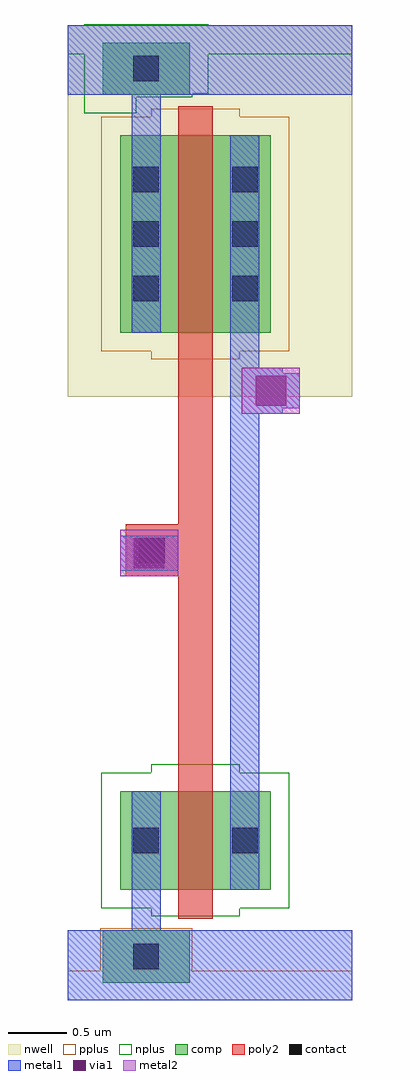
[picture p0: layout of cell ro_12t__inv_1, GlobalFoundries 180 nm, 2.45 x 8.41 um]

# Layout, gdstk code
import gdstk
lib = gdstk.Library(unit=1e-6, precision=1e-09)
def R(c, l, rs):  # rectangles x0, y0, x1, y1
    for r in rs: c.add(gdstk.rectangle(r[:2], r[2:], *l))
def A(c, l, x, y, w, h, nx, ny, dx, dy):  # array of equal rectangles
    R(c, l, [(x+i*dx, y+j*dy, x+i*dx+w, y+j*dy+h) for i in range(nx) for j in range(ny)])
nwell = (21, 0)
comp = (22, 0)
poly2 = (30, 0)
pplus = (31, 0)
nplus = (32, 0)
contact = (33, 0)
metal1 = (34, 0)
via1 = (35, 0)
metal2 = (36, 0)

ro_12t__inv_1 = lib.new_cell('ro_12t__inv_1')
R(ro_12t__inv_1, nwell, [(0,5.2,2.45,8.4)])
R(ro_12t__inv_1, comp, [(0.3,0.15,1.05,0.6), (0.45,0.95,1.75,1.8), (0.45,5.75,1.75,7.45), (0.3,7.8,1.05,8.25)])
R(ro_12t__inv_1, poly2, [(0.95,0.7,1.25,3.65), (0.5,3.65,1.25,4.1), (0.95,4.1,1.25,7.7)])
R(ro_12t__inv_1, pplus, [(0,0,2.45,0.25), (0.28,0.13,1.07,0.62), (0.72,5.52,1.48,5.59), (0.29,5.59,1.91,7.61), (0.72,7.61,1.48,7.68)])
R(ro_12t__inv_1, nplus, [(0.72,0.72,1.48,0.79), (0.29,0.79,1.91,1.96), (0.72,1.96,1.48,2.03), (0.14,7.64,0.59,7.78), (0.14,7.78,1.07,7.81), (0.14,7.81,1.21,8.15), (0,8.15,2.45,8.4), (0,8.15,2.45,8.4), (0.14,8.4,1.21,8.41)])
A(ro_12t__inv_1, contact, 0.565, 6.02, 0.22, 0.22, 1, 3, 0, 0.47)
A(ro_12t__inv_1, contact, 1.415, 6.02, 0.22, 0.22, 1, 3, 0, 0.47)
R(ro_12t__inv_1, contact, [(0.565,0.265,0.785,0.485), (0.565,1.265,0.785,1.485), (1.415,1.265,1.635,1.485), (0.615,3.765,0.835,3.985), (0.565,7.915,0.785,8.135)])
R(ro_12t__inv_1, metal1, [(0,0,2.45,0.6), (0.55,0.6,0.8,1.8), (1.4,0.95,1.65,5.05), (0.45,3.7,0.95,4), (1.4,5.05,1.85,5.1), (1.4,5.1,2,5.4), (1.4,5.4,1.85,5.45), (1.4,5.45,1.65,7.45), (0.55,5.75,0.8,7.8), (0,7.8,2.45,8.4)])
R(ro_12t__inv_1, via1, [(0.57,3.72,0.83,3.98), (1.62,5.12,1.88,5.38)])
R(ro_12t__inv_1, metal2, [(0.45,3.65,0.95,4.05), (1.5,5.05,2,5.45)])

lib.write_gds('ro_12t__inv_1.gds')
